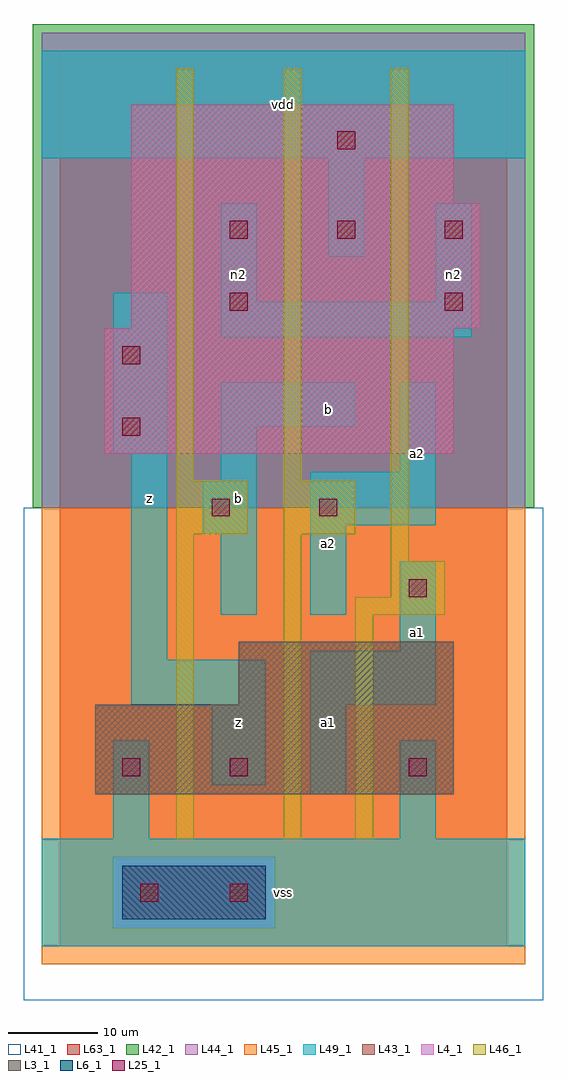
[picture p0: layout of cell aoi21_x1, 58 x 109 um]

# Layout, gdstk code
import gdstk
lib = gdstk.Library(unit=1e-6, precision=1e-09)
def R(c, l, rs):  # rectangles x0, y0, x1, y1
    for r in rs: c.add(gdstk.rectangle(r[:2], r[2:], *l))
def A(c, l, x, y, w, h, nx, ny, dx, dy):  # array of equal rectangles
    R(c, l, [(x+i*dx, y+j*dy, x+i*dx+w, y+j*dy+h) for i in range(nx) for j in range(ny)])
L3_1 = (3, 1)
L4_1 = (4, 1)
L6_1 = (6, 1)
L25_1 = (25, 1)
L41_1 = (41, 1)
L42_1 = (42, 1)
L43_1 = (43, 1)
L44_1 = (44, 1)
L45_1 = (45, 1)
L46_1 = (46, 1)
L49_1 = (49, 1)
L63_1 = (63, 1)

aoi21_x1 = lib.new_cell('aoi21_x1')
R(aoi21_x1, L3_1, [(4,17,44,27), (20,27,44,34)])
R(aoi21_x1, L4_1, [(5,55,44,69), (8,69,47,83), (8,83,44,94)])
R(aoi21_x1, L6_1, [(7,3,23,9)])
A(aoi21_x1, L25_1, 19, 79, 2, 2, 3, 1, 12, 0)
R(aoi21_x1, L25_1, [(9,5,11,7), (19,5,21,7), (7,19,9,21), (19,19,21,21), (39,19,41,21), (39,39,41,41), (17,48,19,50), (29,48,31,50), (7,57,9,59), (7,65,9,67), (19,71,21,73), (43,71,45,73), (31,89,33,91)])
R(aoi21_x1, L41_1, [(-4,-6,54,49), (-3,-3,53,49)])
R(aoi21_x1, L42_1, [(-3,49,53,103)])
R(aoi21_x1, L43_1, [(7,3,23,9), (4,17,44,27), (20,27,44,34), (5,55,44,69), (8,69,47,83), (8,83,44,94)])
R(aoi21_x1, L44_1, [(6,2,24,10), (-2,49,52,102)])
R(aoi21_x1, L45_1, [(-2,-2,52,2), (-2,2,6,10), (24,2,52,10), (-2,10,52,49)])
R(aoi21_x1, L46_1, [(13,12,15,46), (25,12,27,46), (33,12,35,37), (33,37,43,39), (37,39,43,43), (37,43,39,98), (13,46,21,52), (25,46,33,52), (13,52,15,98), (25,52,27,98)])
R(aoi21_x1, L49_1, [(-2,0,52,12), (6,12,10,23), (38,12,42,23), (28,17,32,27), (17,18,23,27), (8,27,23,32), (28,27,42,33), (8,32,12,55), (38,33,42,43), (18,37,22,46), (28,37,32,47), (16,46,22,52), (28,47,42,53), (18,52,22,58), (38,53,42,63), (6,55,12,73), (18,58,33,63), (18,68,46,72), (18,72,22,83), (42,72,46,83), (30,77,34,88), (-2,88,52,100)])
R(aoi21_x1, L63_1, [(0,0,50,100)])
aoi21_x1.add(gdstk.Label('z', (20,25), layer=49, texttype=1))
aoi21_x1.add(gdstk.Label('z', (20,25), layer=49, texttype=1))
aoi21_x1.add(gdstk.Label('b', (20,50), layer=49, texttype=1))
aoi21_x1.add(gdstk.Label('b', (20,50), layer=49, texttype=1))
aoi21_x1.add(gdstk.Label('z', (10,50), layer=49, texttype=1))
aoi21_x1.add(gdstk.Label('z', (10,50), layer=49, texttype=1))
aoi21_x1.add(gdstk.Label('n2', (20,75), layer=49, texttype=1))
aoi21_x1.add(gdstk.Label('vss', (25,6), layer=49, texttype=1))
aoi21_x1.add(gdstk.Label('vss', (25,6), layer=49, texttype=1))
aoi21_x1.add(gdstk.Label('a1', (30,25), layer=49, texttype=1))
aoi21_x1.add(gdstk.Label('a1', (30,25), layer=49, texttype=1))
aoi21_x1.add(gdstk.Label('a2', (30,45), layer=49, texttype=1))
aoi21_x1.add(gdstk.Label('a2', (30,45), layer=49, texttype=1))
aoi21_x1.add(gdstk.Label('b', (30,60), layer=49, texttype=1))
aoi21_x1.add(gdstk.Label('b', (30,60), layer=49, texttype=1))
aoi21_x1.add(gdstk.Label('vdd', (25,94), layer=49, texttype=1))
aoi21_x1.add(gdstk.Label('vdd', (25,94), layer=49, texttype=1))
aoi21_x1.add(gdstk.Label('a1', (40,35), layer=49, texttype=1))
aoi21_x1.add(gdstk.Label('a1', (40,35), layer=49, texttype=1))
aoi21_x1.add(gdstk.Label('a2', (40,55), layer=49, texttype=1))
aoi21_x1.add(gdstk.Label('a2', (40,55), layer=49, texttype=1))
aoi21_x1.add(gdstk.Label('n2', (44,75), layer=49, texttype=1))

lib.write_gds('aoi21_x1.gds')
